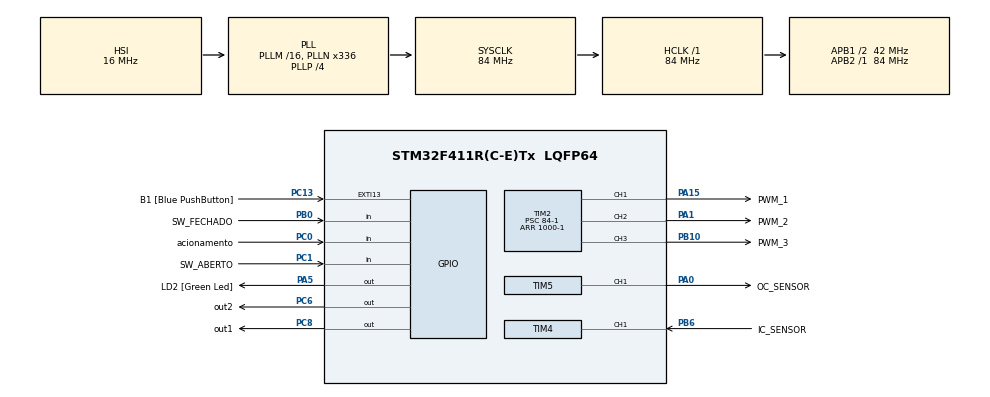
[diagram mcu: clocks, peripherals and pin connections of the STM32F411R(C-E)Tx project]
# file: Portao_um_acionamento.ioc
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Mcu.Family=STM32F4
Mcu.Name=STM32F411R(C-E)Tx
Mcu.Package=LQFP64
Mcu.UserConstants=DT_PWM,1000;PSC_100ms,83;CCR,1;ARR_100ms,50000-1
NVIC.PriorityGroup=NVIC_PRIORITYGROUP_0
NVIC.TIM4_IRQn=true\:0\:0\:false\:false\:true\:true\:true\:true
NVIC.TIM5_IRQn=true\:0\:0\:false\:false\:true\:true\:true\:true
PA0-WKUP.GPIO_Label=OC_SENSOR
PA0-WKUP.Signal=S_TIM5_CH1
PA1.GPIO_Label=PWM_2
PA1.Signal=S_TIM2_CH2
PA13.GPIO_Label=TMS
PA13.Mode=Serial_Wire
PA13.Signal=SYS_JTMS-SWDIO
PA14.GPIO_Label=TCK
PA14.Mode=Serial_Wire
PA14.Signal=SYS_JTCK-SWCLK
PA15.GPIO_Label=PWM_1
PA15.Signal=S_TIM2_CH1_ETR
PA2.GPIO_Label=USART_TX
PA2.Signal=USART2_TX
PA3.GPIO_Label=USART_RX
PA3.Signal=USART2_RX
PA5.GPIO_Label=LD2 [Green Led]
PA5.Signal=GPIO_Output
PB0.GPIO_Label=SW_FECHADO
PB0.GPIO_PuPd=GPIO_PULLDOWN
PB0.Signal=GPIO_Input
PB10.GPIO_Label=PWM_3
PB10.Signal=S_TIM2_CH3
PB3.GPIO_Label=SWO
PB3.Signal=SYS_JTDO-SWO
PB6.GPIO_Label=IC_SENSOR
PB6.Signal=S_TIM4_CH1
PC0.GPIO_Label=acionamento
PC0.GPIO_PuPd=GPIO_PULLDOWN
PC0.Signal=GPIO_Input
PC1.GPIO_Label=SW_ABERTO
PC1.GPIO_PuPd=GPIO_PULLDOWN
PC1.Signal=GPIO_Input
PC13-ANTI_TAMP.GPIO_Label=B1 [Blue PushButton]
PC13-ANTI_TAMP.GPIO_ModeDefaultEXTI=GPIO_MODE_IT_FALLING
PC13-ANTI_TAMP.Signal=GPXTI13
PC14-OSC32_IN.Mode=LSE-External-Oscillator
PC14-OSC32_IN.Signal=RCC_OSC32_IN
PC15-OSC32_OUT.Mode=LSE-External-Oscillator
PC15-OSC32_OUT.Signal=RCC_OSC32_OUT
PC6.GPIO_Label=out2
PC6.Signal=GPIO_Output
PC8.GPIO_Label=out1
PC8.Signal=GPIO_Output
PH0\ -\ OSC_IN.Mode=HSE-External-Clock-Source
PH0\ -\ OSC_IN.Signal=RCC_OSC_IN
PH1\ -\ OSC_OUT.Mode=HSE-External-Clock-Source
PH1\ -\ OSC_OUT.Signal=RCC_OSC_OUT
ProjectManager.HeapSize=0x200
ProjectManager.StackSize=0x400
ProjectManager.TargetToolchain=STM32CubeIDE
RCC.48MHZClocksFreq_Value=84000000
RCC.AHBFreq_Value=84000000
RCC.APB1CLKDivider=RCC_HCLK_DIV2
RCC.APB1Freq_Value=42000000
RCC.APB1TimFreq_Value=84000000
RCC.APB2Freq_Value=84000000
RCC.APB2TimFreq_Value=84000000
RCC.CortexFreq_Value=84000000
RCC.FLatency-AdvancedSettings=FLASH_LATENCY_2
RCC.HCLKFreq_Value=84000000
RCC.HSE_VALUE=8000000
RCC.HSI_VALUE=16000000
RCC.PLLN=336
RCC.PLLP=RCC_PLLP_DIV4
RCC.SYSCLKFreq_VALUE=84000000
RCC.SYSCLKSource=RCC_SYSCLKSOURCE_PLLCLK
RCC.VCOOutputFreq_Value=336000000
SH.S_TIM2_CH1_ETR.0=TIM2_CH1,PWM Generation1 CH1
SH.S_TIM2_CH2.0=TIM2_CH2,PWM Generation2 CH2
SH.S_TIM2_CH3.0=TIM2_CH3,PWM Generation3 CH3
SH.S_TIM4_CH1.0=TIM4_CH1,Input_Capture1_from_TI1
SH.S_TIM5_CH1.0=TIM5_CH1,Output Compare1 CH1
TIM2.AutoReloadPreload=TIM_AUTORELOAD_PRELOAD_DISABLE
TIM2.Channel-PWM\ Generation1\ CH1=TIM_CHANNEL_1
TIM2.Channel-PWM\ Generation2\ CH2=TIM_CHANNEL_2
TIM2.Channel-PWM\ Generation3\ CH3=TIM_CHANNEL_3
TIM2.OCPolarity_1=TIM_OCPOLARITY_LOW
TIM2.OCPolarity_2=TIM_OCPOLARITY_LOW
TIM2.OCPolarity_3=TIM_OCPOLARITY_LOW
TIM2.Period=1000-1
TIM2.Prescaler=84-1
TIM2.Pulse-PWM\ Generation1\ CH1=DT_PWM
TIM2.Pulse-PWM\ Generation2\ CH2=DT_PWM
TIM2.Pulse-PWM\ Generation3\ CH3=DT_PWM
TIM4.AutoReloadPreload=TIM_AUTORELOAD_PRELOAD_DISABLE
TIM4.Channel-Input_Capture1_from_TI1=TIM_CHANNEL_1
TIM4.ICPolarity_CH1=TIM_INPUTCHANNELPOLARITY_BOTHEDGE
TIM4.Period=65534
TIM4.Prescaler=PSC_100ms
TIM5.AutoReloadPreload=TIM_AUTORELOAD_PRELOAD_DISABLE
TIM5.Channel-Output\ Compare1\ CH1=TIM_CHANNEL_1
TIM5.OC1Preload=DISABLE
TIM5.OCMode_1=TIM_OCMODE_TOGGLE
TIM5.Period=ARR_100ms
TIM5.Prescaler=PSC_100ms
TIM5.Pulse=CCR
TIM5.Pulse-Output\ Compare1\ CH1=1
VP_TIM2_VS_ClockSourceINT.Mode=Internal
VP_TIM4_VS_ClockSourceINT.Mode=Internal
VP_TIM5_VS_ClockSourceINT.Mode=Internal
board=NUCLEO-F411RE

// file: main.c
/* USER CODE BEGIN Header */
/**
  ******************************************************************************
  * @authors Augusto Blauth Schneider e Manuela Schneider Gottschalck
  * @Turma 4411
  * @brief          : CONTROLE DE PORTÃO
  ******************************************************************************
  * @attention
  *
  * Copyright (c) 2023 STMicroelectronics.
  * All rights reserved.
  *
  * This software is licensed under terms that can be found in the LICENSE file
  * in the root directory of this software component.
  * If no LICENSE file comes with this software, it is provided AS-IS.
  *
  ******************************************************************************
  */
/* USER CODE END Header */
#include "main.h"
#include "tim.h"
#include "gpio.h"

/* USER CODE BEGIN Includes */
#include <stdlib.h>
#include <stdio.h>
#include <string.h>
/* USER CODE END Includes */

/* USER CODE BEGIN PV */
int bordas_OC[2]={1,13};
uint32_t borda_IC[2]={0,0};
enum {atual,anterior};
uint32_t distance  = 0;
int aux_IC=0;						//Declaração das variáveis usadas
int aux_OC=0;
int aux_p=1;
enum {
	Aberto,
	Fechado,
	Movimento,
	Parado
}Estado_port;
enum {Verde,
	  Vermelho,
	  Amarelo,
	  Violeta
}cor_led;
/* USER CODE END PV */

void SystemClock_Config(void);

/* USER CODE BEGIN 0 */
void HAL_TIM_OC_DelayElapsedCallback(TIM_HandleTypeDef *htim) 				//função Output Compare p/ geração do pulso de trigger do sensor
{															  				//o TIM5 possui PSC=(84-1) e ARR=(50000-1), resultando em um período de 100ms
	if(aux_OC++ >1){
		aux_OC = 0;															//controle das bordas do pulso
	}
	__HAL_TIM_SET_COMPARE(&htim5, TIM_CHANNEL_1, bordas_OC[aux_OC]); 		//quando ocorre um toggle o pulse do OC muda (de 1 para 13, e de 13 para 1)
}																     		//assim temos um pulso ativo de 10us em um período de 100ms

void HAL_TIM_IC_CaptureCallback(TIM_HandleTypeDef *htim)	 				//função Input Capture p/ cálculo de distância com a saída do sensor
{
	aux_IC++;
	borda_IC[anterior] = borda_IC[atual];
	borda_IC[atual]  = __HAL_TIM_GET_COMPARE(htim, TIM_CHANNEL_1);			//captura e atualiza as bordas de subida e descida do pulso no vetor

	if(aux_IC >2){
		aux_IC=1;															//controle das bordas do pulso para cálcular apenas o tempo ativo
	}
	else{
		distance = (abs((borda_IC[atual]-borda_IC[anterior])* 0.034/2)); 	//cálculo da distância conforme o tempo ativo
	}
}

void controle_ponte_H(GPIO_PinState s1, GPIO_PinState s2)  					//função para controle da ponte H
{
	HAL_GPIO_WritePin(out1_GPIO_Port, out1_Pin, s1);
	HAL_GPIO_WritePin(out2_GPIO_Port, out2_Pin, s2);
}

void controle_led(int cor)
{
	if(cor==Verde){
		__HAL_TIM_SET_COMPARE(&htim2, TIM_CHANNEL_1, 500);			//Led verde
		__HAL_TIM_SET_COMPARE(&htim2, TIM_CHANNEL_2, 0);
		__HAL_TIM_SET_COMPARE(&htim2, TIM_CHANNEL_3, 0);
	}
	else if(cor==Vermelho){
		__HAL_TIM_SET_COMPARE(&htim2, TIM_CHANNEL_1, 0);			//Led vermelho
		__HAL_TIM_SET_COMPARE(&htim2, TIM_CHANNEL_2, 500);
		__HAL_TIM_SET_COMPARE(&htim2, TIM_CHANNEL_3, 0);
	}
	else if(cor==Amarelo){
		__HAL_TIM_SET_COMPARE(&htim2, TIM_CHANNEL_1, 500);			//Led amarelo
		__HAL_TIM_SET_COMPARE(&htim2, TIM_CHANNEL_2, 600);
		__HAL_TIM_SET_COMPARE(&htim2, TIM_CHANNEL_3, 0);
	}
	else if(cor==Violeta){
		__HAL_TIM_SET_COMPARE(&htim2, TIM_CHANNEL_1, 200);			//Led violeta
		__HAL_TIM_SET_COMPARE(&htim2, TIM_CHANNEL_2, 500);
		__HAL_TIM_SET_COMPARE(&htim2, TIM_CHANNEL_3, 500);
	}
}
/* USER CODE END 0 */

int main(void)
{

  /* MCU Configuration--------------------------------------------------------*/

  /* Reset of all peripherals, Initializes the Flash interface and the Systick. */
  HAL_Init();

  /* Configure the system clock */
  SystemClock_Config();

  /* Initialize all configured peripherals */
  MX_GPIO_Init();
  MX_TIM5_Init();
  MX_TIM4_Init();
  MX_TIM2_Init();
  /* USER CODE BEGIN 2 */
 // ARR_IC =__HAL_TIM_GET_AUTORELOAD(&htim4);
  HAL_TIM_Base_Start_IT(&htim2);
  HAL_TIM_PWM_Start(&htim2, TIM_CHANNEL_1);				//Liga o TIM2 e o canal de geração PWM
  HAL_TIM_PWM_Start(&htim2, TIM_CHANNEL_2);
  HAL_TIM_PWM_Start(&htim2, TIM_CHANNEL_3);
  __HAL_TIM_SET_COMPARE(&htim2, TIM_CHANNEL_1, 500);			//Led amarelo
  __HAL_TIM_SET_COMPARE(&htim2, TIM_CHANNEL_2, 500);
  __HAL_TIM_SET_COMPARE(&htim2, TIM_CHANNEL_3, 500);

  HAL_TIM_IC_Start_IT(&htim4, TIM_CHANNEL_1);					  //Liga o canal de Input Capture do TIM4
  HAL_TIM_OC_Start_IT(&htim5, TIM_CHANNEL_1);					  //Liga o canal de Output Compare do TIM5

  HAL_NVIC_SetPriority(TIM5_IRQn, 2, 0);						  //Define as prioridades das interrupts
  HAL_NVIC_SetPriority(TIM4_IRQn, 1, 0);

  aux_p=1;
  HAL_GPIO_WritePin(out1_GPIO_Port, out1_Pin, GPIO_PIN_RESET);	  //começa o motor parado com prioridade para fechar
  HAL_GPIO_WritePin(out1_GPIO_Port, out2_Pin, GPIO_PIN_RESET);

  int sw_controle_atual, sw_controle_antes=GPIO_PIN_RESET;		  //variáveis para detecção de borda de subida

  /* USER CODE END 2 */

  /* Infinite loop */
  /* USER CODE BEGIN WHILE */
  while (1)
  {
	  sw_controle_atual=HAL_GPIO_ReadPin(acionamento_GPIO_Port, acionamento_Pin);

	  if(HAL_GPIO_ReadPin(SW_FECHADO_GPIO_Port, SW_FECHADO_Pin)){		//Se o botão está pressionado o portão está fechado
		  Estado_port=Fechado;
		  aux_p=2;
		  controle_led(cor_led=Vermelho);
	  }
	  else if(HAL_GPIO_ReadPin(SW_ABERTO_GPIO_Port, SW_ABERTO_Pin)){	//Se o botão está pressionado o portão está aberto
		  Estado_port=Aberto;
 		  controle_led(cor_led=Verde);
		  aux_p=1;
	  }																	//(if abaixo)Se nenhum dos botões estão pressionados o portão está em movimento ou parado
	  if(HAL_GPIO_ReadPin(SW_ABERTO_GPIO_Port, SW_ABERTO_Pin)==GPIO_PIN_RESET && HAL_GPIO_ReadPin(SW_FECHADO_GPIO_Port, SW_FECHADO_Pin)==GPIO_PIN_RESET){
		  if(HAL_GPIO_ReadPin(out1_GPIO_Port,out1_Pin)==HAL_GPIO_ReadPin(out2_GPIO_Port,out2_Pin)){
			  Estado_port=Parado;                                       //(if acima)Se os pinos de controle da ponte H tem o mesmo valor o portão está parado
			  controle_led(cor_led=Violeta);
		  }
	  	  else{															//Se não o portão está em movimento
	  		  Estado_port=Movimento;
	  		  controle_led(cor_led=Amarelo);
	  	  }
	  }

		  if(sw_controle_atual!=sw_controle_antes){						//Detecção de borda de subida do botão de acionamento
			  sw_controle_antes=sw_controle_atual;
			  if(sw_controle_atual){
				  switch(Estado_port){									//Dependendo do estado do portão o acionamento faz algo diferente
	  	  	  	  	  case Aberto:
	  	  	  	  	if (distance>=7&&distance<=8){                             //Se o caminho não esta obstruído (7 < distância padrão até o solo < 8)
	  	  	  	  		  controle_ponte_H(GPIO_PIN_SET,GPIO_PIN_RESET);       //FECHA o portão
	  	  	  	  	}
	  	  	  	  		  break;
	  	  	  	  	  case Fechado:
	  	  	  	  		  controle_ponte_H(GPIO_PIN_RESET,GPIO_PIN_SET);       //ABRE o portão
	  	  	  	  		  break;
	  	  	  	  	  case Movimento:
	  	  	  	  		  controle_ponte_H(GPIO_PIN_RESET,GPIO_PIN_RESET);     //PARA o portão
	  	  	  	  	  break;
	  	  	  	  	  case Parado:
	  	  	  	  		  if(aux_p==2){										   //Se estava fechado pela última vez
	  	  	  	  			  controle_ponte_H(GPIO_PIN_SET,GPIO_PIN_RESET);   //FECHA o portão
	  	  	  	  		  }
	  	  	  	  		  else{												   //Se estava aberto pela última vez
	  	  	  	  			  controle_ponte_H(GPIO_PIN_RESET,GPIO_PIN_SET);   //ABRE o portão
	  	  	  	  		  }
	  	  	  	  	  break;
				  }
			  }
		  }

    /* USER CODE END WHILE */

  }
}

void SystemClock_Config(void)
{
  RCC_OscInitTypeDef RCC_OscInitStruct = {0};
  RCC_ClkInitTypeDef RCC_ClkInitStruct = {0};

  /** Configure the main internal regulator output voltage
  */
  __HAL_RCC_PWR_CLK_ENABLE();
  __HAL_PWR_VOLTAGESCALING_CONFIG(PWR_REGULATOR_VOLTAGE_SCALE1);

  /** Initializes the RCC Oscillators according to the specified parameters
  * in the RCC_OscInitTypeDef structure.
  */
  RCC_OscInitStruct.OscillatorType = RCC_OSCILLATORTYPE_HSI;
  RCC_OscInitStruct.HSIState = RCC_HSI_ON;
  RCC_OscInitStruct.HSICalibrationValue = RCC_HSICALIBRATION_DEFAULT;
  RCC_OscInitStruct.PLL.PLLState = RCC_PLL_ON;
  RCC_OscInitStruct.PLL.PLLSource = RCC_PLLSOURCE_HSI;
  RCC_OscInitStruct.PLL.PLLM = 16;
  RCC_OscInitStruct.PLL.PLLN = 336;
  RCC_OscInitStruct.PLL.PLLP = RCC_PLLP_DIV4;
  RCC_OscInitStruct.PLL.PLLQ = 4;
  if (HAL_RCC_OscConfig(&RCC_OscInitStruct) != HAL_OK)
  {
    Error_Handler();
  }

  /** Initializes the CPU, AHB and APB buses clocks
  */
  RCC_ClkInitStruct.ClockType = RCC_CLOCKTYPE_HCLK|RCC_CLOCKTYPE_SYSCLK
                              |RCC_CLOCKTYPE_PCLK1|RCC_CLOCKTYPE_PCLK2;
  RCC_ClkInitStruct.SYSCLKSource = RCC_SYSCLKSOURCE_PLLCLK;
  RCC_ClkInitStruct.AHBCLKDivider = RCC_SYSCLK_DIV1;
  RCC_ClkInitStruct.APB1CLKDivider = RCC_HCLK_DIV2;
  RCC_ClkInitStruct.APB2CLKDivider = RCC_HCLK_DIV1;

  if (HAL_RCC_ClockConfig(&RCC_ClkInitStruct, FLASH_LATENCY_2) != HAL_OK)
  {
    Error_Handler();
  }
}

void Error_Handler(void)
{
  __disable_irq();
  while (1)
  {
  }
}
